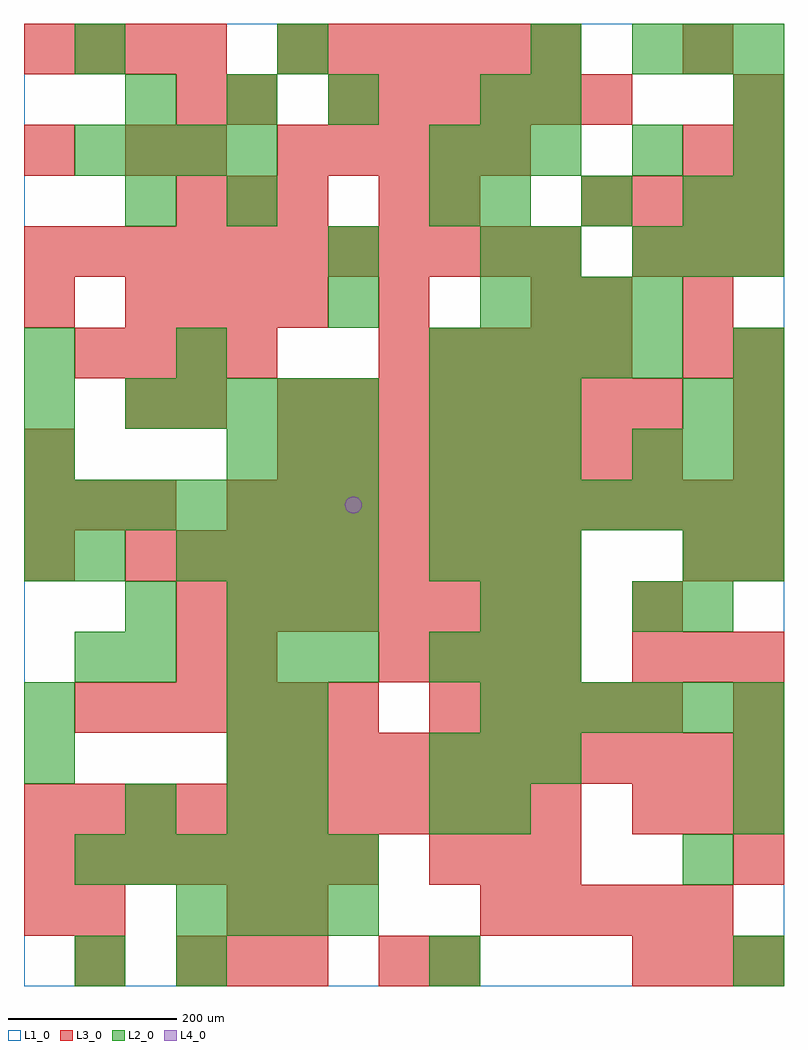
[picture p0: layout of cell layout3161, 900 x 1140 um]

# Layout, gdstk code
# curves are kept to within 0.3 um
import gdstk
lib = gdstk.Library(unit=1e-6, precision=1e-09)
def R(c, l, rs):  # rectangles x0, y0, x1, y1
    for r in rs: c.add(gdstk.rectangle(r[:2], r[2:], *l))
def A(c, l, x, y, w, h, nx, ny, dx, dy):  # array of equal rectangles
    R(c, l, [(x+i*dx, y+j*dy, x+i*dx+w, y+j*dy+h) for i in range(nx) for j in range(ny)])
def P(c, l, *ps):  # polygons
    for p in ps: c.add(gdstk.Polygon(p, *l))
L1_0 = (1, 0)
L2_0 = (2, 0)
L3_0 = (3, 0)
L4_0 = (4, 0)

layout3161 = lib.new_cell('layout3161')
R(layout3161, L1_0, [(0,0,900,1140)])
A(layout3161, L2_0, 180, 60, 60, 60, 4, 2, 60, 420)
A(layout3161, L2_0, 60, 120, 60, 60, 6, 1, 60, 0)
A(layout3161, L2_0, 240, 180, 60, 60, 1, 3, 0, 60)
A(layout3161, L2_0, 300, 180, 60, 60, 1, 3, 0, 60)
A(layout3161, L2_0, 480, 240, 60, 60, 3, 4, 60, 120)
A(layout3161, L2_0, 540, 300, 60, 60, 6, 1, 60, 0)
A(layout3161, L2_0, 240, 360, 60, 60, 3, 2, 60, 60)
A(layout3161, L2_0, 0, 540, 60, 60, 7, 1, 60, 0)
A(layout3161, L2_0, 480, 540, 60, 60, 7, 1, 60, 0)
A(layout3161, L2_0, 0, 600, 60, 60, 1, 3, 0, 60)
A(layout3161, L2_0, 240, 600, 60, 60, 3, 1, 60, 0)
A(layout3161, L2_0, 720, 600, 60, 60, 3, 3, 60, 240)
A(layout3161, L2_0, 120, 660, 60, 60, 5, 1, 60, 0)
A(layout3161, L2_0, 480, 660, 60, 60, 3, 2, 60, 300)
A(layout3161, L2_0, 480, 720, 60, 60, 5, 1, 60, 0)
A(layout3161, L2_0, 540, 780, 60, 60, 4, 1, 60, 0)
A(layout3161, L2_0, 540, 900, 60, 60, 3, 1, 120, 0)
A(layout3161, L2_0, 840, 900, 60, 60, 1, 3, 0, 60)
A(layout3161, L2_0, 60, 960, 60, 60, 4, 1, 60, 0)
A(layout3161, L2_0, 120, 1020, 60, 60, 3, 1, 120, 0)
R(layout3161, L2_0, [(60,0,120,60), (180,0,240,60), (480,0,540,60), (840,0,900,60), (780,120,840,180), (120,180,180,240), (480,180,540,240), (540,180,600,240), (840,180,900,240), (0,240,60,300), (840,240,900,300), (0,300,60,360), (60,360,120,420), (120,360,180,420), (120,420,180,480), (540,420,600,480), (600,420,660,480), (720,420,780,480), (780,420,840,480), (0,480,60,540), (60,480,120,540), (780,480,840,540), (840,480,900,540), (780,660,840,720), (840,660,900,720), (180,720,240,780), (840,720,900,780), (360,780,420,840), (360,840,420,900), (540,840,600,900), (600,840,660,900), (120,900,180,960), (240,900,300,960), (480,900,540,960), (720,960,780,1020), (540,1020,600,1080), (600,1020,660,1080), (60,1080,120,1140), (300,1080,360,1140), (600,1080,660,1140)])
A(layout3161, L3_0, 180, 0, 60, 60, 3, 2, 60, 900)
A(layout3161, L3_0, 720, 0, 60, 60, 3, 3, 60, 180)
A(layout3161, L3_0, 540, 60, 60, 60, 5, 1, 60, 0)
A(layout3161, L3_0, 0, 120, 60, 60, 7, 1, 60, 0)
A(layout3161, L3_0, 480, 120, 60, 60, 3, 1, 60, 0)
A(layout3161, L3_0, 840, 120, 60, 60, 1, 3, 0, 180)
A(layout3161, L3_0, 0, 180, 60, 60, 11, 2, 60, 660)
A(layout3161, L3_0, 240, 240, 60, 60, 11, 2, 60, 300)
A(layout3161, L3_0, 60, 300, 60, 60, 6, 1, 60, 0)
A(layout3161, L3_0, 480, 300, 60, 60, 5, 1, 60, 0)
A(layout3161, L3_0, 180, 360, 60, 60, 1, 3, 0, 300)
A(layout3161, L3_0, 420, 360, 60, 60, 4, 1, 60, 0)
A(layout3161, L3_0, 180, 420, 60, 60, 8, 1, 60, 0)
A(layout3161, L3_0, 120, 480, 60, 60, 9, 1, 60, 0)
A(layout3161, L3_0, 0, 540, 60, 60, 3, 1, 60, 0)
A(layout3161, L3_0, 0, 600, 60, 60, 1, 3, 0, 180)
A(layout3161, L3_0, 300, 600, 60, 60, 8, 2, 60, 60)
A(layout3161, L3_0, 840, 600, 60, 60, 1, 3, 0, 60)
A(layout3161, L3_0, 60, 720, 60, 60, 4, 1, 60, 0)
A(layout3161, L3_0, 420, 720, 60, 60, 5, 1, 60, 0)
A(layout3161, L3_0, 120, 780, 60, 60, 4, 1, 60, 0)
A(layout3161, L3_0, 720, 840, 60, 60, 3, 1, 60, 0)
A(layout3161, L3_0, 660, 900, 60, 60, 4, 1, 60, 0)
A(layout3161, L3_0, 300, 960, 60, 60, 5, 1, 60, 0)
A(layout3161, L3_0, 360, 1020, 60, 60, 6, 1, 60, 0)
A(layout3161, L3_0, 0, 1080, 60, 60, 4, 1, 60, 0)
A(layout3161, L3_0, 300, 1080, 60, 60, 6, 1, 60, 0)
R(layout3161, L3_0, [(60,0,120,60), (420,0,480,60), (480,0,540,60), (0,60,60,120), (60,60,120,120), (240,60,300,120), (300,60,360,120), (240,360,300,420), (720,420,780,480), (0,480,60,540), (780,480,840,540), (120,660,180,720), (780,720,840,780), (420,780,480,840), (600,780,660,840), (660,780,720,840), (780,780,840,840), (420,900,480,960), (480,900,540,960), (120,960,180,1020), (780,960,840,1020), (840,960,900,1020), (180,1020,240,1080), (240,1020,300,1080), (840,1020,900,1080), (780,1080,840,1140)])
P(layout3161, L4_0, [(400,570),(399.239,573.827),(397.071,577.071),(393.827,579.239),(390,580),(386.173,579.239),(382.929,577.071),(380.761,573.827),(380,570),(380.761,566.173),(382.929,562.929),(386.173,560.761),(390,560),(393.827,560.761),(397.071,562.929),(399.239,566.173)])

lib.write_gds('layout3161.gds')
